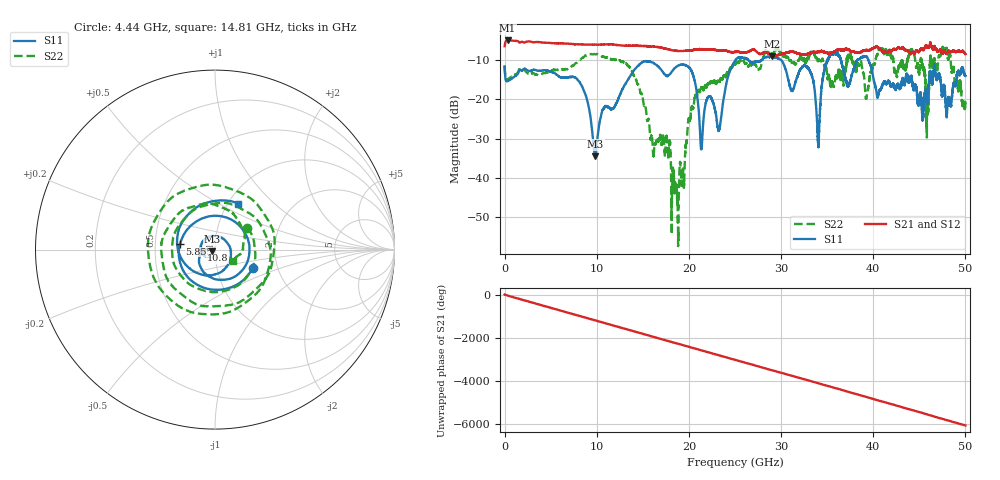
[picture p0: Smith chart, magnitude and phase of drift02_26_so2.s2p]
!Created with skrf (http://scikit-rf.org).
# Hz S RI R 50.0
!freq ReS11 ImS11 ReS21 ImS21 ReS12 ImS12 ReS22 ImS22
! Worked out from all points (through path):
!   10001 points, 300 kHz to 50 GHz, reference 50 ohm
!   highest |S21| = -5.04 dB at 325.3 MHz (marker M1); lowest = -9.0 dB at 29.01 GHz (marker M2)
!   group delay of S21, straight-line fit = 336 ps
!   lowest |S11| = -34.4 dB at 9.825 GHz (marker M3), VSWR 1.04, Z = 48.4 - j0.943 ohm
!   |S11| at or under -10 dB: start of sweep to 25.08 GHz; 29.98 GHz to 35.06 GHz (5.082 GHz wide, 15.6 % of centre); 39.47 GHz to end of sweep (the widest 3 of 6)
!   |S22| runs from -57.3 to -6.6 dB; largest |S21 - S12| = 0.021
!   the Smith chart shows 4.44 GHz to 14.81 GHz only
!   S11 on the Smith chart (normalised r, x): 4.44 GHz: 1.49, -0.32; 5.855 GHz: 0.67, +0.05; 10.8 GHz: 0.85, -0.00; 14.81 GHz: 1.12, +0.62
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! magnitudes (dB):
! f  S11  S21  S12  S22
! 300 kHz  -11.7  -6.5  -6.4  -11.5
! 325.3 MHz  -15.4  -5.0  -5.0  -15.0
! 4.44 GHz  -12.6  -5.6  -5.6  -13.3
! 5.855 GHz  -14.1  -5.7  -5.7  -12.5
! 8.335 GHz  -16.4  -6.1  -6.0  -9.6
! 9.825 GHz  -34.4  -6.1  -6.1  -8.5
! 10.8 GHz  -22.1  -6.1  -6.1  -9.2
! 14.81 GHz  -10.8  -6.4  -6.4  -18.6
! 16.67 GHz  -11.7  -6.8  -6.7  -30.6
! 18.68 GHz  -11.7  -7.7  -7.7  -43.8
! 20.37 GHz  -13.3  -7.5  -7.5  -21.9
! 21.37 GHz  -32.3  -7.2  -7.3  -17.1
! 23.31 GHz  -27.5  -7.5  -7.6  -15.6
! 25 GHz  -10.3  -8.0  -8.0  -11.1
! 29.01 GHz  -9.1  -9.0  -9.0  -8.2
! 33.34 GHz  -13.9  -8.1  -8.2  -8.1
! 34.02 GHz  -31.1  -7.9  -7.9  -10.1
! 35.5 GHz  -8.5  -8.2  -8.1  -15.5
! 41.67 GHz  -15.4  -7.7  -7.8  -7.6
! 45.85 GHz  -20.8  -6.6  -6.8  -21.4
! 47.77 GHz  -17.6  -7.6  -7.6  -7.4
! 50 GHz  -14.1  -8.4  -8.4  -20.9
